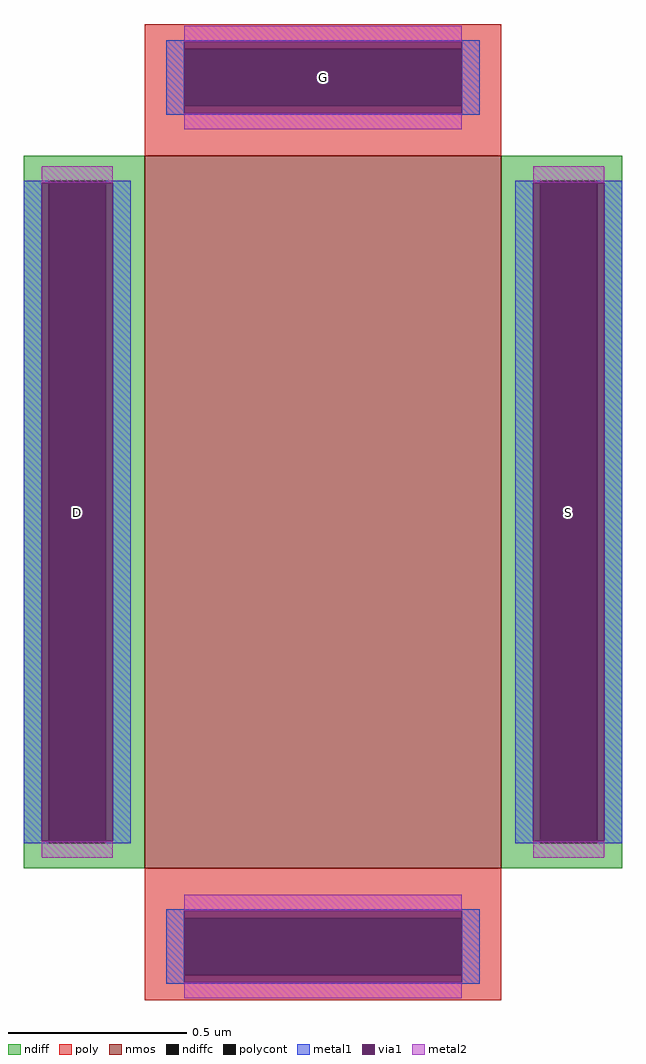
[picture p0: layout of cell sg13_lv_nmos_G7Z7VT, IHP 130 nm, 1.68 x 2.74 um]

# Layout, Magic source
magic
tech ihp-sg13g2
magscale 1 2
<< nmos >>
rect -100 -200 100 200
<< ndiff >>
rect -168 186 -100 200
rect -168 -186 -154 186
rect -122 -186 -100 186
rect -168 -200 -100 -186
rect 100 186 168 200
rect 100 -186 122 186
rect 154 -186 168 186
rect 100 -200 168 -186
<< ndiffc >>
rect -154 -186 -122 186
rect 122 -186 154 186
<< poly >>
rect -100 260 100 274
rect -100 228 -78 260
rect 78 228 100 260
rect -100 200 100 228
rect -100 -228 100 -200
rect -100 -260 -78 -228
rect 78 -260 100 -228
rect -100 -274 100 -260
<< polycont >>
rect -78 228 78 260
rect -78 -260 78 -228
<< metal1 >>
rect -88 264 88 265
rect -88 224 -78 264
rect 78 224 88 264
rect -88 223 88 224
rect -168 185 -154 186
rect -122 185 -108 186
rect -168 -185 -158 185
rect -118 -185 -108 185
rect -168 -186 -154 -185
rect -122 -186 -108 -185
rect 108 185 122 186
rect 154 185 168 186
rect 108 -185 118 185
rect 158 -185 168 185
rect 108 -186 122 -185
rect 154 -186 168 -185
rect -88 -224 88 -223
rect -88 -264 -78 -224
rect 78 -264 88 -224
rect -88 -265 88 -264
<< via1 >>
rect -78 260 78 264
rect -78 228 78 260
rect -78 224 78 228
rect -158 -185 -154 185
rect -154 -185 -122 185
rect -122 -185 -118 185
rect 118 -185 122 185
rect 122 -185 154 185
rect 154 -185 158 185
rect -78 -228 78 -224
rect -78 -260 78 -228
rect -78 -264 78 -260
<< metal2 >>
rect -78 264 78 273
rect -78 215 78 224
rect -158 185 -118 194
rect -158 -194 -118 -185
rect 118 185 158 194
rect 118 -194 158 -185
rect -78 -224 78 -215
rect -78 -273 78 -264
<< labels >>
rlabel ndiffc -138 0 -138 0 0 D
port 1 nsew
rlabel ndiffc 138 0 138 0 0 S
port 2 nsew
rlabel polycont 0 244 0 244 0 G
port 3 nsew
<< properties >>
string gencell sg13_lv_nmos
string library sg13g2
string parameters w 2 l 1 m 1 nf 1 diffcov 100 polycov 100 guard 0 glc 1 grc 1 gtc 1 gbc 1 tbcov 100 rlcov 100 topc 1 botc 1 poverlap 0 doverlap 1 lmin 0.13 wmin 0.15 class mosfet compatible {sg13_lv_nmos sg13_hv_nmos} full_metal 1 conn_gates 0 gate_ring 0 doports 1 viasrc 100 viadrn 100 viagate 100 ccols 1 viagb 0 viagr 0 viagl 0 viagt 0
<< end >>
